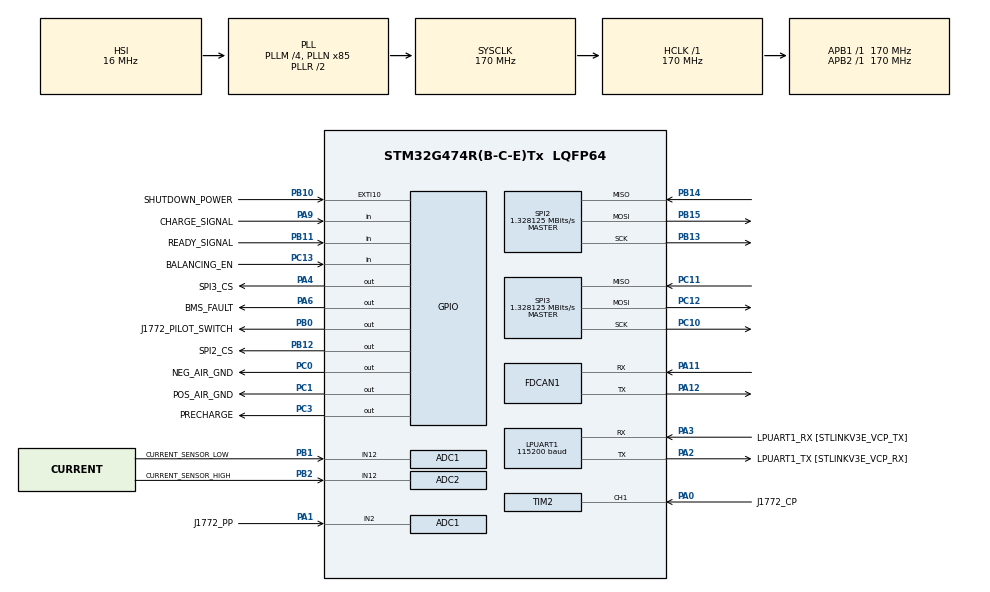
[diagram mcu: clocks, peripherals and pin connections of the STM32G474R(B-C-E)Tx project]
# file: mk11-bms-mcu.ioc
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ADC1.Channel-6\#ChannelRegularConversion=ADC_CHANNEL_12
ADC1.Channel-8\#ChannelRegularConversion=ADC_CHANNEL_2
ADC1.ClockPrescaler=ADC_CLOCK_ASYNC_DIV4
ADC1.ContinuousConvMode=DISABLE
ADC1.DMAAccessModeView=ENABLE
ADC1.DMAContinuousRequests=ENABLE
ADC1.EOCSelection=ADC_EOC_SEQ_CONV
ADC1.EnableInjectedConversion=DISABLE
ADC1.ExternalTrigConv=ADC_EXTERNALTRIG_T3_TRGO
ADC1.Mode=ADC_DUALMODE_REGSIMULT
ADC1.NbrOfConversion=2
ADC1.NbrOfConversionFlag=1
ADC1.OffsetNumber-6\#ChannelRegularConversion=ADC_OFFSET_NONE
ADC1.OffsetNumber-8\#ChannelRegularConversion=ADC_OFFSET_NONE
ADC1.Rank-6\#ChannelRegularConversion=1
ADC1.Rank-8\#ChannelRegularConversion=2
ADC1.Rank1_Channel=ADC_CHANNEL_2
ADC1.SamplingTime-6\#ChannelRegularConversion=ADC_SAMPLETIME_92CYCLES_5
ADC1.SamplingTime-8\#ChannelRegularConversion=ADC_SAMPLETIME_92CYCLES_5
ADC1.master=1
ADC2.Channel-1\#ChannelRegularConversion=ADC_CHANNEL_12
ADC2.Channel-2\#ChannelRegularConversion=ADC_CHANNEL_12
ADC2.ClockPrescaler=ADC_CLOCK_ASYNC_DIV4
ADC2.ContinuousConvMode=DISABLE
ADC2.DMAAccessModeView=ENABLE
ADC2.DMAContinuousRequests=DISABLE
ADC2.EOCSelection=ADC_EOC_SEQ_CONV
ADC2.Mode=ADC_DUALMODE_REGSIMULT
ADC2.NbrOfConversion=2
ADC2.NbrOfConversionFlag=1
ADC2.OffsetNumber-1\#ChannelRegularConversion=ADC_OFFSET_NONE
ADC2.OffsetNumber-2\#ChannelRegularConversion=ADC_OFFSET_NONE
ADC2.Rank-1\#ChannelRegularConversion=1
ADC2.Rank-2\#ChannelRegularConversion=2
ADC2.SamplingTime-1\#ChannelRegularConversion=ADC_SAMPLETIME_92CYCLES_5
ADC2.SamplingTime-2\#ChannelRegularConversion=ADC_SAMPLETIME_92CYCLES_5
Dma.ADC1.0.Direction=DMA_PERIPH_TO_MEMORY
Dma.ADC1.0.EventEnable=DISABLE
Dma.ADC1.0.Instance=DMA1_Channel1
Dma.ADC1.0.MemDataAlignment=DMA_MDATAALIGN_WORD
Dma.ADC1.0.MemInc=DMA_MINC_ENABLE
Dma.ADC1.0.Mode=DMA_CIRCULAR
Dma.ADC1.0.PeriphDataAlignment=DMA_PDATAALIGN_WORD
Dma.ADC1.0.PeriphInc=DMA_PINC_DISABLE
Dma.ADC1.0.Polarity=HAL_DMAMUX_REQ_GEN_RISING
Dma.ADC1.0.Priority=DMA_PRIORITY_LOW
Dma.ADC1.0.RequestNumber=1
Dma.ADC1.0.SignalID=NONE
Dma.ADC1.0.SyncEnable=DISABLE
Dma.ADC1.0.SyncPolarity=HAL_DMAMUX_SYNC_NO_EVENT
Dma.ADC1.0.SyncRequestNumber=1
Dma.ADC1.0.SyncSignalID=NONE
Dma.LPUART1_RX.1.Direction=DMA_PERIPH_TO_MEMORY
Dma.LPUART1_RX.1.EventEnable=DISABLE
Dma.LPUART1_RX.1.Instance=DMA1_Channel2
Dma.LPUART1_RX.1.MemDataAlignment=DMA_MDATAALIGN_BYTE
Dma.LPUART1_RX.1.MemInc=DMA_MINC_ENABLE
Dma.LPUART1_RX.1.Mode=DMA_NORMAL
Dma.LPUART1_RX.1.PeriphDataAlignment=DMA_PDATAALIGN_BYTE
Dma.LPUART1_RX.1.PeriphInc=DMA_PINC_DISABLE
Dma.LPUART1_RX.1.Polarity=HAL_DMAMUX_REQ_GEN_RISING
Dma.LPUART1_RX.1.Priority=DMA_PRIORITY_LOW
Dma.LPUART1_RX.1.RequestNumber=1
Dma.LPUART1_RX.1.SignalID=NONE
Dma.LPUART1_RX.1.SyncEnable=DISABLE
Dma.LPUART1_RX.1.SyncPolarity=HAL_DMAMUX_SYNC_NO_EVENT
Dma.LPUART1_RX.1.SyncRequestNumber=1
Dma.LPUART1_RX.1.SyncSignalID=NONE
Dma.Request0=ADC1
Dma.Request1=LPUART1_RX
FDCAN1.AutoRetransmission=ENABLE
FDCAN1.CalculateBaudRateNominal=499999
FDCAN1.CalculateTimeBitNominal=2000
FDCAN1.CalculateTimeQuantumNominal=117.64705882352942
FDCAN1.ClockDivider=FDCAN_CLOCK_DIV1
FDCAN1.DataPrescaler=20
FDCAN1.DataSyncJumpWidth=1
FDCAN1.DataTimeSeg1=14
FDCAN1.DataTimeSeg2=2
FDCAN1.ExtFiltersNbr=1
FDCAN1.Mode=FDCAN_MODE_NORMAL
FDCAN1.NominalPrescaler=20
FDCAN1.NominalSyncJumpWidth=1
FDCAN1.NominalTimeSeg1=14
FDCAN1.NominalTimeSeg2=2
FDCAN1.StdFiltersNbr=1
FREERTOS.Mutexes01=SPI_MUTEX,Dynamic,NULL,Available;CAN_MUTEX,Dynamic,NULL,Available;VOLTAGE_MUTEX,Dynamic,NULL,Available;TEMP_MUTEX,Dynamic,NULL,Available;FAULT_MUTEX,Dynamic,NULL,Available
FREERTOS.Tasks01=voltageTask,1,512,voltageFunction,Default,NULL,Dynamic,NULL,NULL;tempTask,1,512,tempFunction,Default,NULL,Dynamic,NULL,NULL;safetyTask,2,512,safetyFunction,Default,NULL,Dynamic,NULL,NULL;currTask,1,512,currFunction,Default,NULL,Dynamic,NULL,NULL;dataloggingTask,-1,512,dataloggingFunction,Default,NULL,Dynamic,NULL,NULL;prchgTask,0,1024,prchgFunction,Default,NULL,Dynamic,NULL,NULL;currLimitTask,0,512,currLimitFunction,Default,NULL,Dynamic,NULL,NULL;balancingTask,0,1024,balancingFunction,Default,NULL,Dynamic,NULL,NULL;chargingTask,0,1024,chargingFunction,Default,NULL,Dynamic,NULL,NULL;socTask,0,512,socFunction,Default,NULL,Dynamic,NULL,NULL;serialCmdTask,0,512,serialCmdFunction,Default,NULL,Dynamic,NULL,NULL
FREERTOS.configMINIMAL_STACK_SIZE=64
FREERTOS.configTOTAL_HEAP_SIZE=32000
FREERTOS.configUSE_NEWLIB_REENTRANT=1
FREERTOS.configUSE_PREEMPTION=1
FREERTOS.configUSE_TIMERS=0
LPUART1.BaudRate=115200
Mcu.Family=STM32G4
Mcu.Name=STM32G474R(B-C-E)Tx
Mcu.Package=LQFP64
NVIC.DMA1_Channel1_IRQn=true\:10\:0\:true\:false\:true\:true\:true\:true\:true
NVIC.DMA1_Channel2_IRQn=true\:7\:0\:true\:false\:true\:true\:false\:true\:true
NVIC.EXTI15_10_IRQn=true\:5\:0\:true\:false\:true\:true\:true\:true\:true
NVIC.FDCAN1_IT0_IRQn=true\:8\:0\:true\:false\:true\:true\:true\:true\:true
NVIC.LPUART1_IRQn=true\:7\:0\:true\:false\:true\:true\:true\:true\:true
NVIC.PriorityGroup=NVIC_PRIORITYGROUP_4
NVIC.TIM2_IRQn=true\:9\:0\:true\:false\:true\:true\:true\:true\:true
NVIC.TIM6_DAC_IRQn=true\:15\:0\:false\:false\:true\:false\:true\:true\:true
NVIC.TimeBase=TIM6_DAC_IRQn
NVIC.TimeBaseIP=TIM6
PA0.GPIO_Label=J1772_CP
PA0.Signal=S_TIM2_CH1
PA1.GPIO_Label=J1772_PP
PA1.Mode=IN2-Single-Ended
PA1.Signal=ADC1_IN2
PA11.Mode=FDCAN_Activate
PA11.Signal=FDCAN1_RX
PA12.Mode=FDCAN_Activate
PA12.Signal=FDCAN1_TX
PA2.GPIO_Label=LPUART1_TX [STLINKV3E_VCP_RX]
PA2.Mode=Asynchronous
PA2.Signal=LPUART1_TX
PA3.GPIO_Label=LPUART1_RX [STLINKV3E_VCP_TX]
PA3.Mode=Asynchronous
PA3.Signal=LPUART1_RX
PA4.GPIO_Label=SPI3_CS
PA4.PinState=GPIO_PIN_SET
PA4.Signal=GPIO_Output
PA6.GPIO_Label=BMS_FAULT
PA6.PinState=GPIO_PIN_SET
PA6.Signal=GPIO_Output
PA9.GPIO_Label=CHARGE_SIGNAL
PA9.Signal=GPIO_Input
PB0.GPIO_Label=J1772_PILOT_SWITCH
PB0.Signal=GPIO_Output
PB1.GPIO_Label=CURRENT_SENSOR_LOW
PB1.Signal=SharedAnalog_PB1
PB10.GPIO_Label=SHUTDOWN_POWER
PB10.GPIO_ModeDefaultEXTI=GPIO_MODE_IT_RISING_FALLING
PB10.Signal=GPXTI10
PB11.GPIO_Label=READY_SIGNAL
PB11.Signal=GPIO_Input
PB12.GPIO_Label=SPI2_CS
PB12.PinState=GPIO_PIN_SET
PB12.Signal=GPIO_Output
PB13.GPIO_Speed=GPIO_SPEED_FREQ_VERY_HIGH
PB13.Mode=Full_Duplex_Master
PB13.Signal=SPI2_SCK
PB14.GPIO_Speed=GPIO_SPEED_FREQ_VERY_HIGH
PB14.Mode=Full_Duplex_Master
PB14.Signal=SPI2_MISO
PB15.GPIO_Speed=GPIO_SPEED_FREQ_VERY_HIGH
PB15.Mode=Full_Duplex_Master
PB15.Signal=SPI2_MOSI
PB2.GPIO_Label=CURRENT_SENSOR_HIGH
PB2.Mode=IN12-Single-Ended
PB2.Signal=ADC2_IN12
PC0.GPIO_Label=NEG_AIR_GND
PC0.Signal=GPIO_Output
PC1.GPIO_Label=POS_AIR_GND
PC1.Signal=GPIO_Output
PC10.GPIO_Speed=GPIO_SPEED_FREQ_VERY_HIGH
PC10.Mode=Full_Duplex_Master
PC10.Signal=SPI3_SCK
PC11.GPIO_Speed=GPIO_SPEED_FREQ_VERY_HIGH
PC11.Mode=Full_Duplex_Master
PC11.Signal=SPI3_MISO
PC12.GPIO_Speed=GPIO_SPEED_FREQ_VERY_HIGH
PC12.Mode=Full_Duplex_Master
PC12.Signal=SPI3_MOSI
PC13.GPIO_Label=BALANCING_EN
PC13.Signal=GPIO_Input
PC14-OSC32_IN.Mode=LSE-External-Oscillator
PC14-OSC32_IN.Signal=RCC_OSC32_IN
PC15-OSC32_OUT.Mode=LSE-External-Oscillator
PC15-OSC32_OUT.Signal=RCC_OSC32_OUT
PC3.GPIO_Label=PRECHARGE
PC3.Signal=GPIO_Output
PF0-OSC_IN.Mode=HSE-External-Oscillator
PF0-OSC_IN.Signal=RCC_OSC_IN
PF1-OSC_OUT.GPIO_Label=RCC_OSC_OUT
PF1-OSC_OUT.Mode=HSE-External-Oscillator
PF1-OSC_OUT.Signal=RCC_OSC_OUT
ProjectManager.HeapSize=0x200
ProjectManager.StackSize=0x400
ProjectManager.TargetToolchain=STM32CubeIDE
RCC.ADC12Freq_Value=170000000
RCC.ADC345Freq_Value=170000000
RCC.AHBFreq_Value=170000000
RCC.APB1Freq_Value=170000000
RCC.APB1TimFreq_Value=170000000
RCC.APB2Freq_Value=170000000
RCC.APB2TimFreq_Value=170000000
RCC.CortexFreq_Value=170000000
RCC.EXTERNAL_CLOCK_VALUE=12288000
RCC.HCLKFreq_Value=170000000
RCC.HSE_VALUE=24000000
RCC.HSI48_VALUE=48000000
RCC.HSI_VALUE=16000000
RCC.PLLM=RCC_PLLM_DIV4
RCC.PLLN=85
RCC.SYSCLKFreq_VALUE=170000000
RCC.SYSCLKSource=RCC_SYSCLKSOURCE_PLLCLK
RCC.USBFreq_Value=170000000
RCC.VCOOutputFreq_Value=340000000
SH.S_TIM2_CH1.0=TIM2_CH1,PWM_Input_1
SH.SharedAnalog_PB1.0=ADC3_IN1
SH.SharedAnalog_PB1.1=ADC1_IN12,IN12-Single-Ended
SPI2.BaudRatePrescaler=SPI_BAUDRATEPRESCALER_128
SPI2.CLKPhase=SPI_PHASE_1EDGE
SPI2.CLKPolarity=SPI_POLARITY_LOW
SPI2.CalculateBaudRate=1.328125 MBits/s
SPI2.DataSize=SPI_DATASIZE_8BIT
SPI2.Direction=SPI_DIRECTION_2LINES
SPI2.FirstBit=SPI_FIRSTBIT_MSB
SPI2.Mode=SPI_MODE_MASTER
SPI2.VirtualType=VM_MASTER
SPI3.BaudRatePrescaler=SPI_BAUDRATEPRESCALER_128
SPI3.CLKPhase=SPI_PHASE_1EDGE
SPI3.CLKPolarity=SPI_POLARITY_LOW
SPI3.CalculateBaudRate=1.328125 MBits/s
SPI3.DataSize=SPI_DATASIZE_8BIT
SPI3.Direction=SPI_DIRECTION_2LINES
SPI3.Mode=SPI_MODE_MASTER
SPI3.VirtualType=VM_MASTER
TIM2.Prescaler=169
TIM3.Channel-PWM\ Generation1\ No\ Output=TIM_CHANNEL_1
TIM3.PeriodNoDither=63908
TIM3.Prescaler=37
TIM3.PulseNoDither_1=31954
TIM3.TIM_MasterOutputTrigger=TIM_TRGO_UPDATE
VP_FREERTOS_VS_CMSIS_V1.Mode=CMSIS_V1
VP_SYS_VS_DBSignals.Mode=DisableDeadBatterySignals
VP_SYS_VS_tim6.Mode=TIM6
VP_TIM2_VS_ClockSourceINT.Mode=Internal
VP_TIM3_VS_no_output1.Mode=PWM Generation1 No Output
board=NUCLEO-G474RE

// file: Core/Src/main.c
/* USER CODE BEGIN Header */
/**
 ******************************************************************************
 * @file           : main.c
 * @brief          : Main program body
 ******************************************************************************
 * @attention
 *
 * Copyright (c) 2025 STMicroelectronics.
 * All rights reserved.
 *
 * This software is licensed under terms that can be found in the LICENSE file
 * in the root directory of this software component.
 * If no LICENSE file comes with this software, it is provided AS-IS.
 *
 ******************************************************************************
 */
/* USER CODE END Header */
#include "main.h"
#include "cmsis_os.h"
#include "adc.h"
#include "dma.h"
#include "fdcan.h"
#include "usart.h"
#include "spi.h"
#include "tim.h"
#include "gpio.h"

/* USER CODE BEGIN Includes */
#include "adBms_Application.h"
#include "elcon_charger.h"
#include "j_plug.h"
#include "current_calculations.h"
#include "thermistor.h"
#include "voltage_calculations.h"
#include "current_calculations.h"
#include "balancing.h"
#include "bms_state.h"
#include "prchg.h"
/* USER CODE END Includes */

void SystemClock_Config(void);
void MX_FREERTOS_Init(void);
/* USER CODE BEGIN PFP */
#if defined(__ICCARM__)
/* New definition from EWARM V9, compatible with EWARM8 */
int iar_fputc(int ch);
#define PUTCHAR_PROTOTYPE int iar_fputc(int ch)
#elif defined ( __CC_ARM ) || defined(__ARMCC_VERSION)
/* ARM Compiler 5/6*/
#define PUTCHAR_PROTOTYPE int fputc(int ch, FILE *f)
#define GETCHAR_PROTOTYPE int fgetc(FILE *f)
#elif defined(__GNUC__)
#define PUTCHAR_PROTOTYPE int __io_putchar(int ch)
#define GETCHAR_PROTOTYPE int __io_getchar(void)
#endif /* __ICCARM__ */
/* USER CODE END PFP */

/* USER CODE BEGIN 0 */
void HAL_GPIO_EXTI_Callback(uint16_t GPIO_Pin) {
	if (GPIO_Pin == SHUTDOWN_POWER_Pin) {
		// DO NOTHING...
	}
}
/* USER CODE END 0 */

int main(void)
{

  /* MCU Configuration--------------------------------------------------------*/

  /* Reset of all peripherals, Initializes the Flash interface and the Systick. */
  HAL_Init();

  /* Configure the system clock */
  SystemClock_Config();

  /* Initialize all configured peripherals */
  MX_GPIO_Init();
  MX_DMA_Init();
  MX_LPUART1_UART_Init();
  MX_SPI2_Init();
  MX_SPI3_Init();
  MX_FDCAN1_Init();
  MX_ADC2_Init();
  MX_ADC1_Init();
  MX_TIM2_Init();
  MX_TIM3_Init();
  /* USER CODE BEGIN 2 */

  // ADBMS6830 + ADC INITIALIZATION
  adBms6830_init_config(TOTAL_IC, IC);
  adBms6830_start_adc_cell_voltage_measurment(TOTAL_IC);
  adBms6830_start_aux_voltage_measurment(TOTAL_IC, IC);
  startADC();

  // CAN MESSAGE CONFIGURATION
  configureTemp_TxMsg();
  configureVoltage_TxMsg();
  configureSoc_Curr_Pack_TxMsg();
  configureChargeTxMsg();
  configurePrchgTxMsg();
  configurePrchgIgnoreTxMsg();
  configureDCL_CCL_TxMsg();
  configureShutdownLostTxMsg();
  // CAN STARTUP
  configureFilters();
  startCAN_Tx_Rx();
  /* USER CODE END 2 */

  /* Call init function for freertos objects (in cmsis_os2.c) */
  MX_FREERTOS_Init();

  /* Start scheduler */
  osKernelStart();

  /* We should never get here as control is now taken by the scheduler */

  /* Infinite loop */
	while (1) {
	}

}

void SystemClock_Config(void)
{
  RCC_OscInitTypeDef RCC_OscInitStruct = {0};
  RCC_ClkInitTypeDef RCC_ClkInitStruct = {0};

  /** Configure the main internal regulator output voltage
  */
  HAL_PWREx_ControlVoltageScaling(PWR_REGULATOR_VOLTAGE_SCALE1_BOOST);

  /** Initializes the RCC Oscillators according to the specified parameters
  * in the RCC_OscInitTypeDef structure.
  */
  RCC_OscInitStruct.OscillatorType = RCC_OSCILLATORTYPE_HSI;
  RCC_OscInitStruct.HSIState = RCC_HSI_ON;
  RCC_OscInitStruct.HSICalibrationValue = RCC_HSICALIBRATION_DEFAULT;
  RCC_OscInitStruct.PLL.PLLState = RCC_PLL_ON;
  RCC_OscInitStruct.PLL.PLLSource = RCC_PLLSOURCE_HSI;
  RCC_OscInitStruct.PLL.PLLM = RCC_PLLM_DIV4;
  RCC_OscInitStruct.PLL.PLLN = 85;
  RCC_OscInitStruct.PLL.PLLP = RCC_PLLP_DIV2;
  RCC_OscInitStruct.PLL.PLLQ = RCC_PLLQ_DIV2;
  RCC_OscInitStruct.PLL.PLLR = RCC_PLLR_DIV2;
  if (HAL_RCC_OscConfig(&RCC_OscInitStruct) != HAL_OK)
  {
    Error_Handler();
  }

  /** Initializes the CPU, AHB and APB buses clocks
  */
  RCC_ClkInitStruct.ClockType = RCC_CLOCKTYPE_HCLK|RCC_CLOCKTYPE_SYSCLK
                              |RCC_CLOCKTYPE_PCLK1|RCC_CLOCKTYPE_PCLK2;
  RCC_ClkInitStruct.SYSCLKSource = RCC_SYSCLKSOURCE_PLLCLK;
  RCC_ClkInitStruct.AHBCLKDivider = RCC_SYSCLK_DIV1;
  RCC_ClkInitStruct.APB1CLKDivider = RCC_HCLK_DIV1;
  RCC_ClkInitStruct.APB2CLKDivider = RCC_HCLK_DIV1;

  if (HAL_RCC_ClockConfig(&RCC_ClkInitStruct, FLASH_LATENCY_4) != HAL_OK)
  {
    Error_Handler();
  }
}

/* USER CODE BEGIN 4 */
/**
 * @brief  Retargets the C library __write function to the IAR function iar_fputc.
 * @param  file: file descriptor.
 * @param  ptr: pointer to the buffer where the data is stored.
 * @param  len: length of the data to write in bytes.
 * @retval length of the written data in bytes.
 */
#if defined(__ICCARM__)
size_t __write(int file, unsigned char const *ptr, size_t len)
{
	size_t idx;
	unsigned char const *pdata = ptr;

	for (idx = 0; idx < len; idx++)
	{
		iar_fputc((int)*pdata);
		pdata++;
	}
	return len;
}
#endif /* __ICCARM__ */

/**
 * @brief  Retargets the C library printf function to the USART.
 */
PUTCHAR_PROTOTYPE
{
  /* Place your implementation of fputc here */
  /* e.g. write a character to the LPUART1 and Loop until the end of transmission */
  HAL_UART_Transmit(&hlpuart1, (uint8_t *)&ch, 1, 0xFFFF);

  return ch;
}

GETCHAR_PROTOTYPE
{
  uint8_t ch = 0;

  /* Clear the Overrun flag just before receiving the first character */
  __HAL_UART_CLEAR_OREFLAG(&hlpuart1);

  /* Wait for reception of a character on the USART RX line and echo this
   * character on console */
  HAL_UART_Receive(&hlpuart1, (uint8_t *)&ch, 1, HAL_MAX_DELAY);
  HAL_UART_Transmit(&hlpuart1, (uint8_t *)&ch, 1, HAL_MAX_DELAY);
  return ch;
}

/* USER CODE END 4 */

void HAL_TIM_PeriodElapsedCallback(TIM_HandleTypeDef *htim)
{
  if (htim->Instance == TIM6)
  {
    HAL_IncTick();
  }
}

void Error_Handler(void)
{
	__disable_irq();
	while (1)
	{
	}
}

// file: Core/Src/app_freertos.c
/* USER CODE BEGIN Header */
/**
  ******************************************************************************
  * File Name          : app_freertos.c
  * Description        : Code for freertos applications
  ******************************************************************************
  * @attention
  *
  * Copyright (c) 2026 STMicroelectronics.
  * All rights reserved.
  *
  * This software is licensed under terms that can be found in the LICENSE file
  * in the root directory of this software component.
  * If no LICENSE file comes with this software, it is provided AS-IS.
  *
  ******************************************************************************
  */
/* USER CODE END Header */

#include "FreeRTOS.h"
#include "task.h"
#include "main.h"
#include "cmsis_os.h"

/* USER CODE BEGIN Includes */
#include "freertos_handles.h"
#include "voltage_calculations.h"
#include "thermistor.h"
#include "current_calculations.h"
#include "curr_limiting.h"
#include "prchg.h"
#include "gui.h"
#include "bms_state.h"
/* USER CODE END Includes */

/* USER CODE BEGIN Variables */
volatile bool temp_ready;
volatile bool voltage_ready;
/* USER CODE END Variables */
osThreadId voltageTaskHandle;
osThreadId tempTaskHandle;
osThreadId safetyTaskHandle;
osThreadId currTaskHandle;
osThreadId dataloggingTaskHandle;
osThreadId prchgTaskHandle;
osThreadId currLimitTaskHandle;
osThreadId balancingTaskHandle;
osThreadId chargingTaskHandle;
osThreadId socTaskHandle;
osThreadId serialCmdTaskHandle;
osMutexId SPI_MUTEXHandle;
osMutexId CAN_MUTEXHandle;
osMutexId VOLTAGE_MUTEXHandle;
osMutexId TEMP_MUTEXHandle;
osMutexId FAULT_MUTEXHandle;

void voltageFunction(void const * argument);
void tempFunction(void const * argument);
void safetyFunction(void const * argument);
void currFunction(void const * argument);
void dataloggingFunction(void const * argument);
void prchgFunction(void const * argument);
void currLimitFunction(void const * argument);
void balancingFunction(void const * argument);
void chargingFunction(void const * argument);
void socFunction(void const * argument);
void serialCmdFunction(void const * argument);

void MX_FREERTOS_Init(void); /* (MISRA C 2004 rule 8.1) */

void MX_FREERTOS_Init(void) {
  /* Create the mutex(es) */
  /* definition and creation of SPI_MUTEX */
  osMutexDef(SPI_MUTEX);
  SPI_MUTEXHandle = osMutexCreate(osMutex(SPI_MUTEX));

  /* definition and creation of CAN_MUTEX */
  osMutexDef(CAN_MUTEX);
  CAN_MUTEXHandle = osMutexCreate(osMutex(CAN_MUTEX));

  /* definition and creation of VOLTAGE_MUTEX */
  osMutexDef(VOLTAGE_MUTEX);
  VOLTAGE_MUTEXHandle = osMutexCreate(osMutex(VOLTAGE_MUTEX));

  /* definition and creation of TEMP_MUTEX */
  osMutexDef(TEMP_MUTEX);
  TEMP_MUTEXHandle = osMutexCreate(osMutex(TEMP_MUTEX));

  /* definition and creation of FAULT_MUTEX */
  osMutexDef(FAULT_MUTEX);
  FAULT_MUTEXHandle = osMutexCreate(osMutex(FAULT_MUTEX));

  /* Create the thread(s) */
  /* definition and creation of voltageTask */
  osThreadDef(voltageTask, voltageFunction, osPriorityAboveNormal, 0, 512);
  voltageTaskHandle = osThreadCreate(osThread(voltageTask), NULL);

  /* definition and creation of tempTask */
  osThreadDef(tempTask, tempFunction, osPriorityAboveNormal, 0, 512);
  tempTaskHandle = osThreadCreate(osThread(tempTask), NULL);

  /* definition and creation of safetyTask */
  osThreadDef(safetyTask, safetyFunction, osPriorityHigh, 0, 512);
  safetyTaskHandle = osThreadCreate(osThread(safetyTask), NULL);

  /* definition and creation of currTask */
  osThreadDef(currTask, currFunction, osPriorityAboveNormal, 0, 512);
  currTaskHandle = osThreadCreate(osThread(currTask), NULL);

  /* definition and creation of dataloggingTask */
  osThreadDef(dataloggingTask, dataloggingFunction, osPriorityBelowNormal, 0, 1024);
  dataloggingTaskHandle = osThreadCreate(osThread(dataloggingTask), NULL);

  /* definition and creation of prchgTask */
  osThreadDef(prchgTask, prchgFunction, osPriorityNormal, 0, 1024);
  prchgTaskHandle = osThreadCreate(osThread(prchgTask), NULL);

  /* definition and creation of currLimitTask */
  osThreadDef(currLimitTask, currLimitFunction, osPriorityNormal, 0, 512);
  currLimitTaskHandle = osThreadCreate(osThread(currLimitTask), NULL);

  /* definition and creation of balancingTask */
  osThreadDef(balancingTask, balancingFunction, osPriorityNormal, 0, 1024);
  balancingTaskHandle = osThreadCreate(osThread(balancingTask), NULL);

  /* definition and creation of chargingTask */
  osThreadDef(chargingTask, chargingFunction, osPriorityNormal, 0, 1024);
  chargingTaskHandle = osThreadCreate(osThread(chargingTask), NULL);

  /* definition and creation of socTask */
  osThreadDef(socTask, socFunction, osPriorityNormal, 0, 512);
  socTaskHandle = osThreadCreate(osThread(socTask), NULL);

  /* definition and creation of serialCmdTask */
  osThreadDef(serialCmdTask, serialCmdFunction, osPriorityNormal, 0, 512);
  serialCmdTaskHandle = osThreadCreate(osThread(serialCmdTask), NULL);

}

void voltageFunction(void const * argument)
{
  /* USER CODE BEGIN voltageFunction */
  static bool first_run = false;
  /* Infinite loop */
  for(;;)
  {
	computeAllVoltages(TOTAL_IC, IC);
	if (!first_run) {
		first_run = true;
		voltage_ready = true;
	}
	osDelay(500);
  }
  /* USER CODE END voltageFunction */
}

void tempFunction(void const * argument)
{
  /* USER CODE BEGIN tempFunction */
  static bool first_run = false;
  /* Infinite loop */
  for(;;)
  {
	computeAllTemps(TOTAL_IC, IC);
	if (!first_run) {
		first_run = true;
		temp_ready = true;
	}
    osDelay(1000);
  }
  /* USER CODE END tempFunction */
}

void safetyFunction(void const * argument)
{
  /* USER CODE BEGIN safetyFunction */

  /* Infinite loop */
  for(;;)
  {
	service_shutdown_power_signal();
	BMS_CheckFaultRegister();
    osDelay(50);
  }
  /* USER CODE END safetyFunction */
}

void currFunction(void const * argument)
{
  /* USER CODE BEGIN currFunction */
  /* Infinite loop */
  for(;;)
  {
	  ulTaskNotifyTake(pdTRUE, portMAX_DELAY); // Based on ADC ISR; ~70 Hz.
	  calculateCurrent();
  }
  /* USER CODE END currFunction */
}

void dataloggingFunction(void const * argument)
{
  /* USER CODE BEGIN dataloggingFunction */
  /* Infinite loop */
  for(;;)
  {
#if BMS_CAN_DATALOGGING_MODE == BMS_DATALOGGING_ENABLED
	sendVoltage();
	sendTemp();
	sendSoc_Curr_Pack();
#endif

#if BMS_JSON_DATALOGGING_MODE == BMS_DATALOGGING_ENABLED
	taskENTER_CRITICAL();
	int json_len = build_bms_json();
	taskEXIT_CRITICAL();
	send_bms_json(json_len);
#endif

    osDelay(1000);
  }
  /* USER CODE END dataloggingFunction */
}

void prchgFunction(void const * argument)
{
  /* USER CODE BEGIN prchgFunction */
  /* Infinite loop */
  for(;;)
  {
	  ulTaskNotifyTake(pdTRUE, portMAX_DELAY);
	  while (bms_state == BMS_PRECHARGING) {
		  precharge_loop();
		  osDelay(50);
	  }
  }
  /* USER CODE END prchgFunction */
}

void currLimitFunction(void const * argument)
{
  /* USER CODE BEGIN currLimitFunction */
  /* Infinite loop */
  for(;;)
  {
	  ulTaskNotifyTake(pdTRUE, portMAX_DELAY);
	  while (bms_state == BMS_DRIVE) {
		  sendDCL_CCL();
		  osDelay(100);
	  }
  }
  /* USER CODE END currLimitFunction */
}

void balancingFunction(void const * argument)
{
  /* USER CODE BEGIN balancingFunction */
  /* Infinite loop */
  for(;;)
  {
	  ulTaskNotifyTake(pdTRUE, portMAX_DELAY);
	  while (bms_state == BMS_BALANCING) {
		  balancingLoop(TOTAL_IC, IC);
		  osDelay(500); // Discharge Timer is ~2 Seconds.
	  }
  }
  /* USER CODE END balancingFunction */
}

void chargingFunction(void const * argument)
{
  /* USER CODE BEGIN chargingFunction */
  /* Infinite loop */
  for(;;)
  {
	  ulTaskNotifyTake(pdTRUE, portMAX_DELAY);
	  while (bms_state == BMS_CHARGING) {
		  // Waits for ISR Notifications, w/ 50 ms timeout.
		  charging_loop();
	  }
  }
  /* USER CODE END chargingFunction */
}

void socFunction(void const * argument)
{
  /* USER CODE BEGIN socFunction */
  static uint32_t last_tick;
  while (!(voltage_ready && temp_ready)) {
	  osDelay(50);
  }
  get_initial_soc();
  last_tick = HAL_GetTick();
  /* Infinite loop */
  for(;;)
  {
	  uint32_t now = HAL_GetTick();
	  uint32_t delta = now - last_tick;
	  last_tick = now;
	  coulomb_count(delta);
	  osDelay(500);
  }
  /* USER CODE END socFunction */
}

void serialCmdFunction(void const * argument)
{
  /* USER CODE BEGIN serialCmdFunction */
  /* Infinite loop */
  for(;;)
  {
	ulTaskNotifyTake(pdTRUE, portMAX_DELAY);
	processGUI_Cmd();
  }
  /* USER CODE END serialCmdFunction */
}
